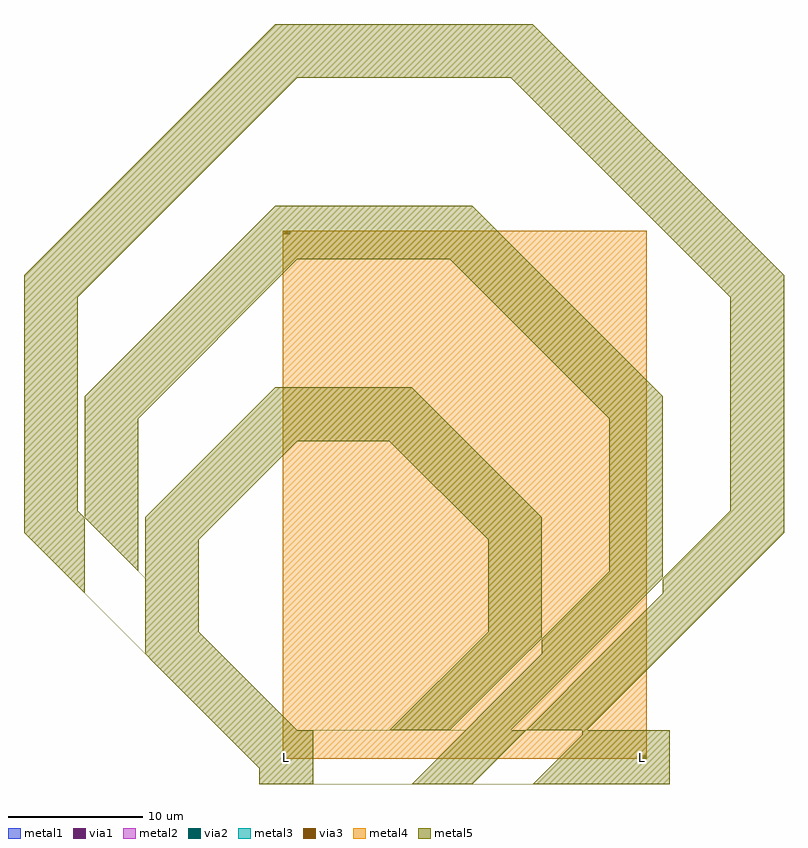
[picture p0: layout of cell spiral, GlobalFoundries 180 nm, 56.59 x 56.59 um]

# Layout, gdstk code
import gdstk
lib = gdstk.Library(unit=1e-6, precision=1e-09)
def R(c, l, rs):  # rectangles x0, y0, x1, y1
    for r in rs: c.add(gdstk.rectangle(r[:2], r[2:], *l))
def P(c, l, *ps):  # polygons
    for p in ps: c.add(gdstk.Polygon(p, *l))
metal1 = (34, 0)
via1 = (35, 0)
metal2 = (36, 0)
via2 = (38, 0)
via3 = (40, 0)
metal3 = (42, 0)
metal4 = (46, 0)
metal5 = (81, 0)

spiral = lib.new_cell('spiral')
R(spiral, metal1, [(26.27,-0.13,26.83,0.13), (-0.28,38.93,0.28,39.19)])
R(spiral, via1, [(26.42,-0.13,26.68,0.13), (-0.13,38.93,0.13,39.19)])
R(spiral, metal2, [(26.29,-0.14,26.81,0.14), (-0.26,38.92,0.26,39.2)])
R(spiral, via2, [(26.42,-0.13,26.68,0.13), (-0.13,38.93,0.13,39.19)])
R(spiral, via3, [(26.42,-0.13,26.68,0.13), (-0.13,38.93,0.13,39.19)])
R(spiral, metal3, [(26.29,-0.14,26.81,0.14), (-0.26,38.92,0.26,39.2)])
R(spiral, metal4, [(26.29,-0.14,26.81,0.14), (-0.28,-0.13,26.83,39.19), (-0.26,38.92,0.26,39.2)])
R(spiral, metal5, [(-2,-2,2,2), (22.04,-2,26.55,2), (24.55,-2,28.55,2)])
P(spiral, metal5, [(-0.83,-2),(-19.53,16.7),(-19.53,35.89),(-0.83,54.59),(18.36,54.59),(37.06,35.89),(37.06,16.7),(18.36,-2),(-0.83,-2),(-15.02,12.19),(-15.02,26.87),(-0.83,41.06),(13.85,41.06),(28.04,26.87),(28.04,12.19),(13.85,-2),(-0.83,-2),(-10.51,7.68),(-10.51,17.85),(-0.83,27.53),(9.34,27.53),(19.02,17.85),(19.02,7.68),(9.34,-2),(0,-2),(0,2),(7.68,2),(15.02,9.34),(15.02,16.19),(7.68,23.53),(0.83,23.53),(-6.51,16.19),(-6.51,9.34),(0.83,2),(12.19,2),(24.04,13.85),(24.04,25.21),(12.19,37.06),(0.83,37.06),(-11.02,25.21),(-11.02,13.85),(0.83,2),(16.7,2),(33.06,18.36),(33.06,34.23),(16.7,50.59),(0.83,50.59),(-15.53,34.23),(-15.53,18.36),(0.83,2),(22.04,2),(22.04,-2)])
spiral.add(gdstk.Label('L', (0,0), layer=81, texttype=10))
spiral.add(gdstk.Label('L', (26.55,0), layer=81, texttype=10))

lib.write_gds('spiral.gds')
